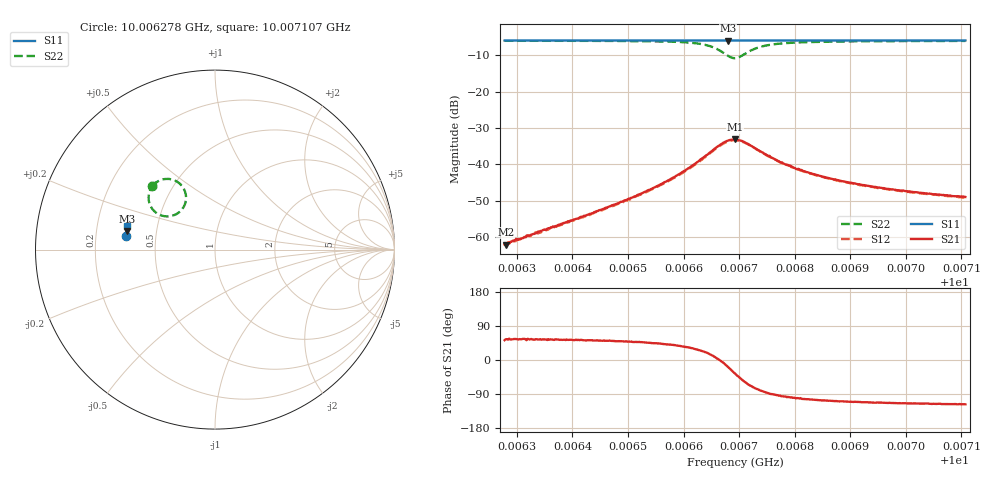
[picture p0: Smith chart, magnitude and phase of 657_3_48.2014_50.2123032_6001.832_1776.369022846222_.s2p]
#  HZ  S  RI  R  50.00
! Rohde & Schwarz Vector Network Analyzer
! Rohde-Schwarz,ZNB20-2Port,1311601062101988,3.16
! Created: UTC 3/20/2024, 12:05:35 PM
! freq[Hz]  re:S11  im:S11  re:S21  im:S21  re:S12  im:S12  re:S22  im:S22
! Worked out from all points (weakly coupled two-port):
!   401 points, 10.006278 GHz to 10.007107 GHz, reference 50 ohm
!   highest |S21| = -33.15 dB at 10.006693 GHz (marker M1); lowest = -62.1 dB at 10.00628 GHz (marker M2)
!   lowest |S11| = -6.0 dB at 10.00668 GHz (marker M3), VSWR 3.02, Z = 16.7 + j4.64 ohm
!   |S11| at or under -10 dB: nowhere
!   |S22| runs from -10.8 to -6.0 dB; largest |S21 - S12| = 0.0017
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1.00062778e10  -0.4978 0.0781  0.000483 0.000626  0.000414 0.000619  -0.3518 0.355
1.00062799e10  -0.4976 0.0782  0.000453 0.00064  0.000404 0.000674  -0.3514 0.3552
1.00063317e10  -0.4971 0.0816  0.000655 0.000881  0.00061 0.00094  -0.3469 0.3596
1.00063421e10  -0.4972 0.0823  0.000692 0.000983  0.000613 0.000958  -0.3459 0.3606
1.00064167e10  -0.4964 0.0873  0.00114 0.00151  0.00106 0.00152  -0.3371 0.3681
1.00065059e10  -0.4955 0.0931  0.00229 0.00259  0.00211 0.00263  -0.3199 0.3798
1.00065557e10  -0.4948 0.0965  0.00372 0.00355  0.0035 0.00362  -0.302 0.3879
1.00066013e10  -0.4941 0.0995  0.00663 0.00463  0.00618 0.00486  -0.2704 0.394
1.00066365e10  -0.4931 0.102  0.0116 0.00476  0.0111 0.00524  -0.222 0.3842
1.00066593e10  -0.4922 0.1033  0.0171 0.00143  0.0163 0.00261  -0.1776 0.3456
1.00066801e10  -0.4914 0.1038  0.0201 -0.00673  0.0201 -0.00518  -0.1645 0.2627
1.00066925e10  -0.4916 0.104  0.0178 -0.0129  0.0183 -0.0113  -0.197 0.2105
1.00067008e10  -0.4916 0.1041  0.0146 -0.0155  0.0153 -0.0143  -0.2323 0.1905
1.00067112e10  -0.4918 0.1045  0.0103 -0.017  0.0112 -0.016  -0.277 0.1855
1.00067257e10  -0.4923 0.1053  0.00518 -0.0163  0.00626 -0.0158  -0.3236 0.2023
1.00067402e10  -0.4925 0.1063  0.00221 -0.0146  0.0031 -0.0142  -0.3494 0.2268
1.00067734e10  -0.4925 0.1088  -0.000754 -0.0107  -0.000289 -0.0107  -0.3686 0.2715
1.00068003e10  -0.4923 0.1107  -0.00153 -0.00873  -0.00118 -0.00872  -0.37 0.2941
1.00068315e10  -0.4919 0.1127  -0.00185 -0.00717  -0.00148 -0.00716  -0.3677 0.3115
1.00068957e10  -0.4911 0.117  -0.00193 -0.00532  -0.00163 -0.00533  -0.3609 0.3323
1.00069704e10  -0.4902 0.1219  -0.00177 -0.00419  -0.00155 -0.00418  -0.3537 0.3461
1.00071072e10  -0.4884 0.1307  -0.00161 -0.00316  -0.00143 -0.00318  -0.3429 0.3615
